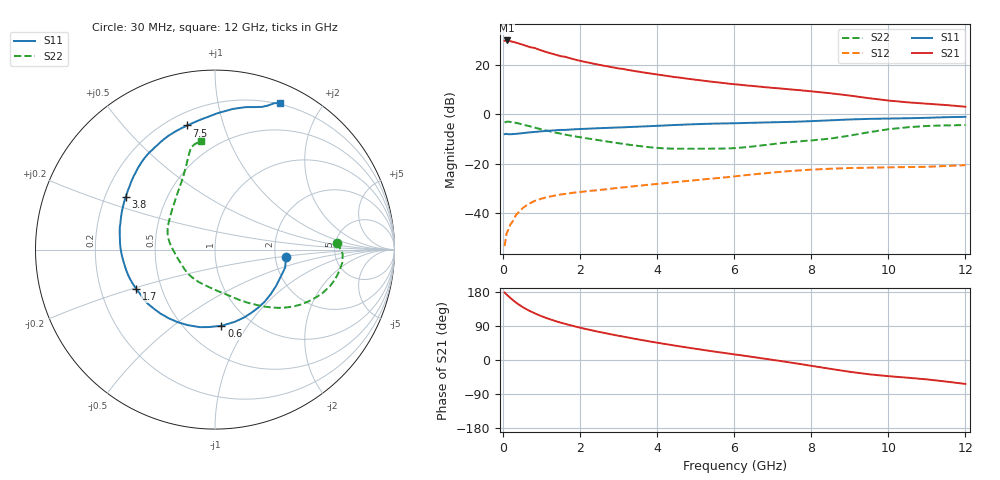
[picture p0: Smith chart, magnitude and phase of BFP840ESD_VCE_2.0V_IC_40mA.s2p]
! Infineon Technologies  Discrete & RF Semiconductors
! BFP840ESD
! VCE =  2.0 V,  IC =  40 mA
! Common Emitter S-Parameters:  May 2012
# GHz  S  MA  R  50
!  f  S11  S21  S12  S22
! GHz  MAG  ANG  MAG  ANG  MAG  ANG  MAG  ANG
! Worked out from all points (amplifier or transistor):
!   93 points, 30 MHz to 12 GHz, reference 50 ohm
!   highest |S21| = 30.1 dB at 80 MHz (marker M1)
!   |S21| within 3 dB of that: start of sweep to 799.3 MHz
!   unconditionally stable (mu >= 1): start of sweep to 301.4 MHz; 1.997 GHz to 11.04 GHz
!   at 1.1 GHz: K = 0.80, MSG = 29.6 dB, |S12| = -33.7 dB
!   at 4.2 GHz: K = 1.29, MAG = 18.6 dB, |S12| = -27.9 dB
!   at 12 GHz: K = 0.82, MSG = 11.9 dB, |S12| = -20.6 dB
!   S11 on the Smith chart (normalised r, x): 30 MHz: 2.29, -0.22; 600 MHz: 0.74, -0.76; 1.7 GHz: 0.36, -0.21; 3.8 GHz: 0.29, +0.25; 7.5 GHz: 0.27, +0.76; 12 GHz: 0.19, +1.52
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0.03  0.397 -5.8  31.41 177.9  0.0021 81.5  0.6812 3.2
0.08  0.4037 -14.4  31.91 173.1  0.0038 78.6  0.7122 -1.9
0.23  0.3979 -39.0  30.18 159.3  0.0065 62.7  0.6951 -12.2
0.33  0.4035 -53.5  28.73 151.2  0.0091 62.9  0.6729 -17.6
0.5  0.4171 -74.5  26.16 139.7  0.0125 60.7  0.6234 -25.2
0.6  0.4261 -85.2  24.65 133.8  0.0142 57.2  0.5955 -29.0
0.7  0.4332 -94.8  23.17 128.5  0.0158 54.4  0.5699 -32.4
0.8  0.4404 -101.2  22.59 123.9  0.0173 52.8  0.5432 -35.5
0.9  0.4474 -109.8  21.12 119.3  0.0185 51.1  0.5189 -38.2
1.1  0.4616 -124.2  18.7 111.3  0.0206 48.0  0.4747 -43.1
1.4  0.4801 -140.8  15.99 101.2  0.0229 44.0  0.4202 -49.1
1.7  0.4907 -153.6  14.1 92.7  0.0247 42.5  0.3765 -54.2
2.1  0.5096 -168.7  11.78 82.7  0.0271 40.7  0.3333 -60.4
2.9  0.541 168.9  8.903 65.7  0.0316 39.5  0.2662 -73.4
3.8  0.5778 149.3  6.828 49.0  0.0375 38.3  0.2153 -95.7
4.1  0.5916 143.7  6.311 43.9  0.0396 37.9  0.2061 -105.1
5  0.6341 130.6  5.063 29.5  0.0462 35.5  0.2005 -132.3
6.1  0.6649 118.9  4.047 13.5  0.0561 31.9  0.21 -163.5
7.5  0.7088 102.7  3.205 -7.4  0.0711 21.3  0.2751 163.1
8.5  0.7602 88.9  2.69 -23.4  0.0788 11.8  0.3238 138.1
10.5  0.8369 71.8  1.762 -46.7  0.085 -4.4  0.5487 105.4
12  0.894 66.1  1.435 -63.2  0.0931 -12.3  0.6091 97.5
